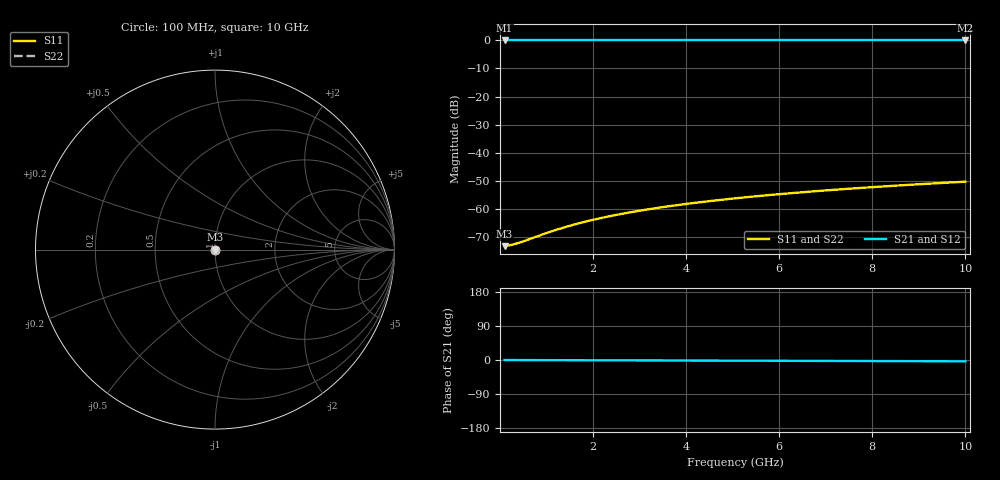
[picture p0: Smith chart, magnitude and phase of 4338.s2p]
# Hz S RI R 50.00
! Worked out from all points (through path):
!   100 points, 100 MHz to 10 GHz, reference 50 ohm
!   highest |S21| = 0.00 dB at 100 MHz (marker M1); lowest = 0.0 dB at 10 GHz (marker M2)
!   lowest |S11| = -73.4 dB at 100 MHz (marker M3), VSWR 1.00, Z = 50 - j0.00297 ohm
!   |S11| at or under -10 dB: start of sweep to end of sweep
!   |S22| runs from -73.4 to -50.4 dB; largest |S21 - S12| = 0
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1e8  0.000212 -2.97e-05  0.9998 -0.000605  0.9998 -0.000605  0.000212 -2.97e-05
2e8  0.000213 -5.93e-05  0.9998 -0.00121  0.9998 -0.00121  0.000213 -5.93e-05
3e8  0.000213 -8.9e-05  0.9998 -0.00182  0.9998 -0.00182  0.000213 -8.9e-05
4e8  0.000214 -0.000119  0.9998 -0.00242  0.9998 -0.00242  0.000214 -0.000119
6e8  0.000214 -0.000178  0.9998 -0.00363  0.9998 -0.00363  0.000214 -0.000178
1e9  0.000214 -0.000297  0.9998 -0.00605  0.9998 -0.00605  0.000214 -0.000297
1.2e9  0.000214 -0.000356  0.9997 -0.00726  0.9997 -0.00726  0.000214 -0.000356
1.5e9  0.000213 -0.000446  0.9997 -0.00908  0.9997 -0.00908  0.000213 -0.000446
1.8e9  0.000211 -0.000535  0.9997 -0.0109  0.9997 -0.0109  0.000211 -0.000535
2.1e9  0.000209 -0.000625  0.9997 -0.0127  0.9997 -0.0127  0.000209 -0.000625
2.5e9  0.000206 -0.000745  0.9997 -0.0151  0.9997 -0.0151  0.000206 -0.000745
2.9e9  0.000202 -0.000865  0.9996 -0.0176  0.9996 -0.0176  0.000202 -0.000865
3.4e9  0.000196 -0.00102  0.9995 -0.0206  0.9995 -0.0206  0.000196 -0.00102
3.8e9  0.000191 -0.00114  0.9995 -0.023  0.9995 -0.023  0.000191 -0.00114
4.2e9  0.000185 -0.00126  0.9994 -0.0254  0.9994 -0.0254  0.000185 -0.00126
4.6e9  0.000178 -0.00138  0.9994 -0.0279  0.9994 -0.0279  0.000178 -0.00138
5.1e9  0.000169 -0.00153  0.9993 -0.0309  0.9993 -0.0309  0.000169 -0.00153
5.9e9  0.000153 -0.00177  0.9991 -0.0358  0.9991 -0.0358  0.000153 -0.00177
6.7e9  0.000134 -0.00202  0.9989 -0.0406  0.9989 -0.0406  0.000134 -0.00202
7.5e9  0.000113 -0.00226  0.9987 -0.0455  0.9987 -0.0455  0.000113 -0.00226
8.4e9  8.6e-05 -0.00254  0.9984 -0.051  0.9984 -0.051  8.6e-05 -0.00254
1e10  3.1e-05 -0.00302  0.9979 -0.0608  0.9979 -0.0608  3.1e-05 -0.00302
